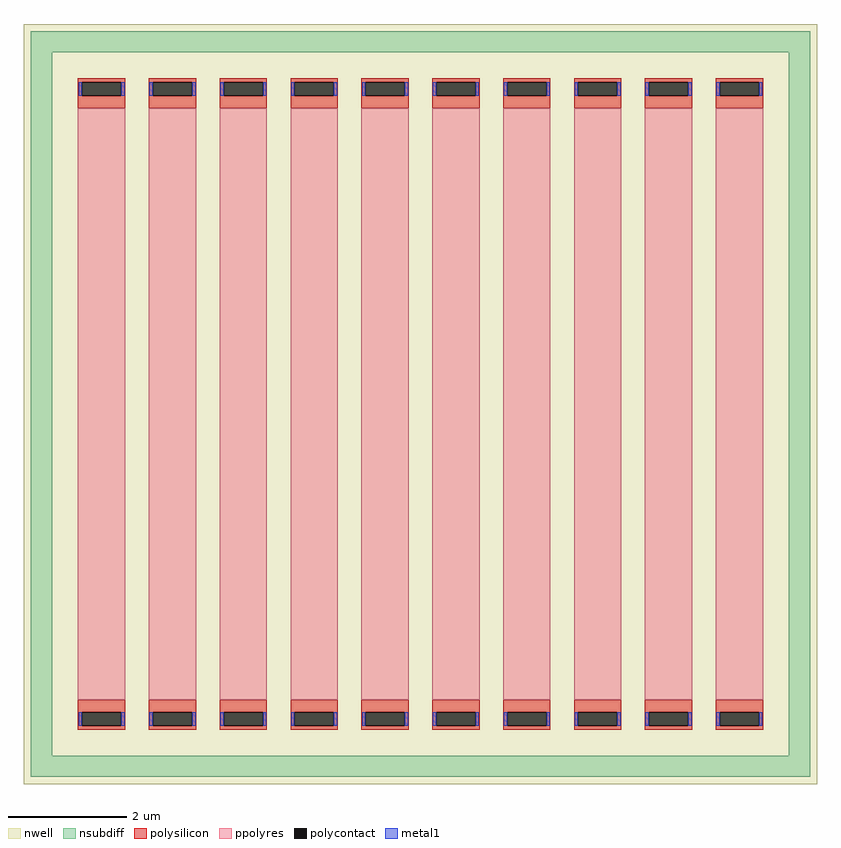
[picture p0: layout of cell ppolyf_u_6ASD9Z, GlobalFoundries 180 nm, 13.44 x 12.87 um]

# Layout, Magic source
magic
tech gf180mcuC
magscale 1 10
<< nwell >>
rect -1344 -1287 1344 1287
<< nsubdiff >>
rect -1320 1191 1320 1263
rect -1320 -1191 -1248 1191
rect 1248 -1191 1320 1191
rect -1320 -1263 1320 -1191
<< polysilicon >>
rect -1160 1090 -1000 1103
rect -1160 1044 -1147 1090
rect -1013 1044 -1000 1090
rect -1160 1001 -1000 1044
rect -1160 -1044 -1000 -1001
rect -1160 -1090 -1147 -1044
rect -1013 -1090 -1000 -1044
rect -1160 -1103 -1000 -1090
rect -920 1090 -760 1103
rect -920 1044 -907 1090
rect -773 1044 -760 1090
rect -920 1001 -760 1044
rect -920 -1044 -760 -1001
rect -920 -1090 -907 -1044
rect -773 -1090 -760 -1044
rect -920 -1103 -760 -1090
rect -680 1090 -520 1103
rect -680 1044 -667 1090
rect -533 1044 -520 1090
rect -680 1001 -520 1044
rect -680 -1044 -520 -1001
rect -680 -1090 -667 -1044
rect -533 -1090 -520 -1044
rect -680 -1103 -520 -1090
rect -440 1090 -280 1103
rect -440 1044 -427 1090
rect -293 1044 -280 1090
rect -440 1001 -280 1044
rect -440 -1044 -280 -1001
rect -440 -1090 -427 -1044
rect -293 -1090 -280 -1044
rect -440 -1103 -280 -1090
rect -200 1090 -40 1103
rect -200 1044 -187 1090
rect -53 1044 -40 1090
rect -200 1001 -40 1044
rect -200 -1044 -40 -1001
rect -200 -1090 -187 -1044
rect -53 -1090 -40 -1044
rect -200 -1103 -40 -1090
rect 40 1090 200 1103
rect 40 1044 53 1090
rect 187 1044 200 1090
rect 40 1001 200 1044
rect 40 -1044 200 -1001
rect 40 -1090 53 -1044
rect 187 -1090 200 -1044
rect 40 -1103 200 -1090
rect 280 1090 440 1103
rect 280 1044 293 1090
rect 427 1044 440 1090
rect 280 1001 440 1044
rect 280 -1044 440 -1001
rect 280 -1090 293 -1044
rect 427 -1090 440 -1044
rect 280 -1103 440 -1090
rect 520 1090 680 1103
rect 520 1044 533 1090
rect 667 1044 680 1090
rect 520 1001 680 1044
rect 520 -1044 680 -1001
rect 520 -1090 533 -1044
rect 667 -1090 680 -1044
rect 520 -1103 680 -1090
rect 760 1090 920 1103
rect 760 1044 773 1090
rect 907 1044 920 1090
rect 760 1001 920 1044
rect 760 -1044 920 -1001
rect 760 -1090 773 -1044
rect 907 -1090 920 -1044
rect 760 -1103 920 -1090
rect 1000 1090 1160 1103
rect 1000 1044 1013 1090
rect 1147 1044 1160 1090
rect 1000 1001 1160 1044
rect 1000 -1044 1160 -1001
rect 1000 -1090 1013 -1044
rect 1147 -1090 1160 -1044
rect 1000 -1103 1160 -1090
<< polycontact >>
rect -1147 1044 -1013 1090
rect -1147 -1090 -1013 -1044
rect -907 1044 -773 1090
rect -907 -1090 -773 -1044
rect -667 1044 -533 1090
rect -667 -1090 -533 -1044
rect -427 1044 -293 1090
rect -427 -1090 -293 -1044
rect -187 1044 -53 1090
rect -187 -1090 -53 -1044
rect 53 1044 187 1090
rect 53 -1090 187 -1044
rect 293 1044 427 1090
rect 293 -1090 427 -1044
rect 533 1044 667 1090
rect 533 -1090 667 -1044
rect 773 1044 907 1090
rect 773 -1090 907 -1044
rect 1013 1044 1147 1090
rect 1013 -1090 1147 -1044
<< ppolyres >>
rect -1160 -1001 -1000 1001
rect -920 -1001 -760 1001
rect -680 -1001 -520 1001
rect -440 -1001 -280 1001
rect -200 -1001 -40 1001
rect 40 -1001 200 1001
rect 280 -1001 440 1001
rect 520 -1001 680 1001
rect 760 -1001 920 1001
rect 1000 -1001 1160 1001
<< metal1 >>
rect -1158 1044 -1147 1090
rect -1013 1044 -1002 1090
rect -918 1044 -907 1090
rect -773 1044 -762 1090
rect -678 1044 -667 1090
rect -533 1044 -522 1090
rect -438 1044 -427 1090
rect -293 1044 -282 1090
rect -198 1044 -187 1090
rect -53 1044 -42 1090
rect 42 1044 53 1090
rect 187 1044 198 1090
rect 282 1044 293 1090
rect 427 1044 438 1090
rect 522 1044 533 1090
rect 667 1044 678 1090
rect 762 1044 773 1090
rect 907 1044 918 1090
rect 1002 1044 1013 1090
rect 1147 1044 1158 1090
rect -1158 -1090 -1147 -1044
rect -1013 -1090 -1002 -1044
rect -918 -1090 -907 -1044
rect -773 -1090 -762 -1044
rect -678 -1090 -667 -1044
rect -533 -1090 -522 -1044
rect -438 -1090 -427 -1044
rect -293 -1090 -282 -1044
rect -198 -1090 -187 -1044
rect -53 -1090 -42 -1044
rect 42 -1090 53 -1044
rect 187 -1090 198 -1044
rect 282 -1090 293 -1044
rect 427 -1090 438 -1044
rect 522 -1090 533 -1044
rect 667 -1090 678 -1044
rect 762 -1090 773 -1044
rect 907 -1090 918 -1044
rect 1002 -1090 1013 -1044
rect 1147 -1090 1158 -1044
<< properties >>
string FIXED_BBOX -1284 -1227 1284 1227
string gencell ppolyf_u
string library gf180mcu
string parameters w 0.8 l 10.01 m 1 nx 10 wmin 0.80 lmin 1.00 rho 315 val 4.319k dummy 0 dw 0.07 term 0.0 sterm 0.0 caplen 0.4 snake 0 glc 0 grc 0 gtc 0 gbc 0 roverlap 0 endcov 100 full_metal 0
<< end >>
